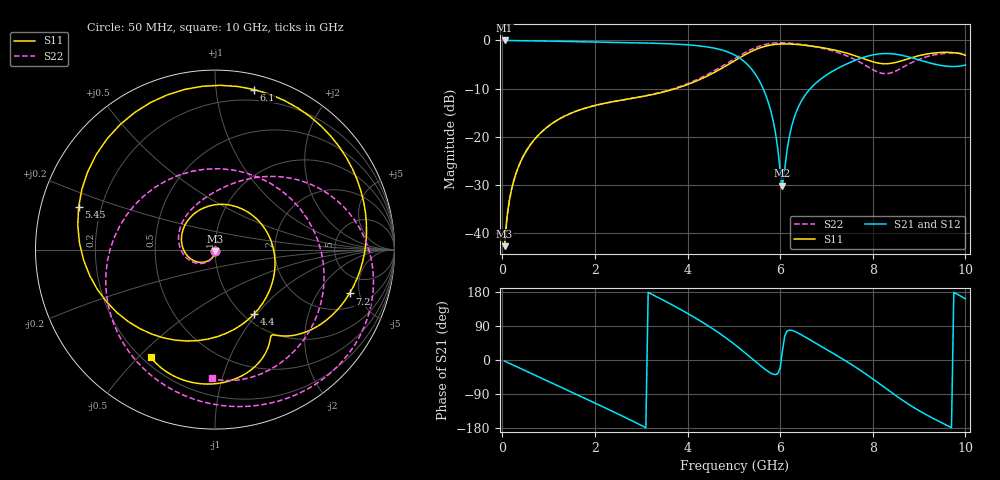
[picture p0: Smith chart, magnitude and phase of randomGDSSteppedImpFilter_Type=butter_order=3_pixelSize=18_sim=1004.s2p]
! freq	dB(S11)	phase(S11)	dB(S12)	phase(S12)
!  dB(S21)	phase(S21)	dB(S22)	phase(S22)
!S-par simulation data
#  GHz  S  DB  R 50
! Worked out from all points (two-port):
!   200 points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, 50 MHz to 10 GHz, reference 50 ohm
!   highest |S21| = -0.02 dB at 50 MHz (marker M1); lowest = -30.1 dB at 6.05 GHz (marker M2)
!   |S21| within 3 dB of the highest: start of sweep to 5.011 GHz; 8.001 GHz to 8.586 GHz (585.1 MHz wide, 7.05 % of centre)
!   lowest |S11| = -42.7 dB at 50 MHz (marker M3), VSWR 1.01, Z = 50.1 - j0.724 ohm
!   |S11| at or under -10 dB: start of sweep to 3.746 GHz
!   |S22| runs from -42.7 to -0.5 dB; largest |S21 - S12| = 0
!   S11 on the Smith chart (normalised r, x): 50 MHz: 1.00, -0.01; 4.4 GHz: 1.11, -0.97; 5.45 GHz: 0.12, +0.15; 6.1 GHz: 0.11, +1.27; 7.2 GHz: 3.10, -3.99; 10 GHz: 0.23, -0.54
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0.05  -42.72 -81.2  -0.02 -2.9  -0.02 -2.9  -42.71 -81.0
0.2  -30.94 -99.0  -0.03 -11.4  -0.03 -11.4  -30.94 -98.1
0.5  -23.24 -119.3  -0.07 -28.4  -0.07 -28.4  -23.25 -116.8
1.15  -16.78 -159.3  -0.18 -65.2  -0.18 -65.2  -16.78 -152.5
1.75  -14.18 163.1  -0.29 -99.2  -0.29 -99.2  -14.19 176.6
2.65  -12.29 101.0  -0.45 -151.4  -0.45 -151.4  -12.28 134.3
3.4  -10.90 40.2  -0.64 162.7  -0.64 162.7  -10.83 103.6
4.4  -7.53 -59.1  -1.32 93.7  -1.32 93.7  -7.22 64.7
5.05  -4.04 -140.4  -3.22 37.9  -3.22 37.9  -3.60 32.2
5.45  -1.98 162.8  -6.83 -2.5  -6.83 -2.5  -1.57 4.6
5.8  -0.97 113.7  -14.70 -34.8  -14.70 -34.8  -0.64 -22.7
6.05  -0.75 82.1  -30.14 24.2  -30.14 24.2  -0.50 -42.0
6.1  -0.74 76.2  -26.62 64.3  -26.62 64.3  -0.52 -45.7
6.3  -0.81 54.4  -16.12 76.2  -16.12 76.2  -0.66 -60.1
6.7  -1.21 17.8  -9.52 49.4  -9.52 49.4  -1.22 -87.9
7.2  -2.06 -18.0  -6.03 13.5  -6.03 13.5  -2.38 -125.0
7.8  -3.80 -47.8  -3.53 -32.8  -3.53 -32.8  -4.96 172.9
8.35  -4.82 -57.1  -2.74 -80.9  -2.74 -80.9  -6.85 77.6
8.7  -4.00 -62.7  -3.26 -110.9  -3.26 -110.9  -5.32 18.7
9  -3.17 -72.2  -4.06 -133.7  -4.06 -133.7  -3.93 -17.4
9.5  -2.49 -93.2  -5.25 -166.3  -5.25 -166.3  -2.75 -59.3
10  -3.11 -120.9  -5.11 161.4  -5.11 161.4  -2.88 -91.3
